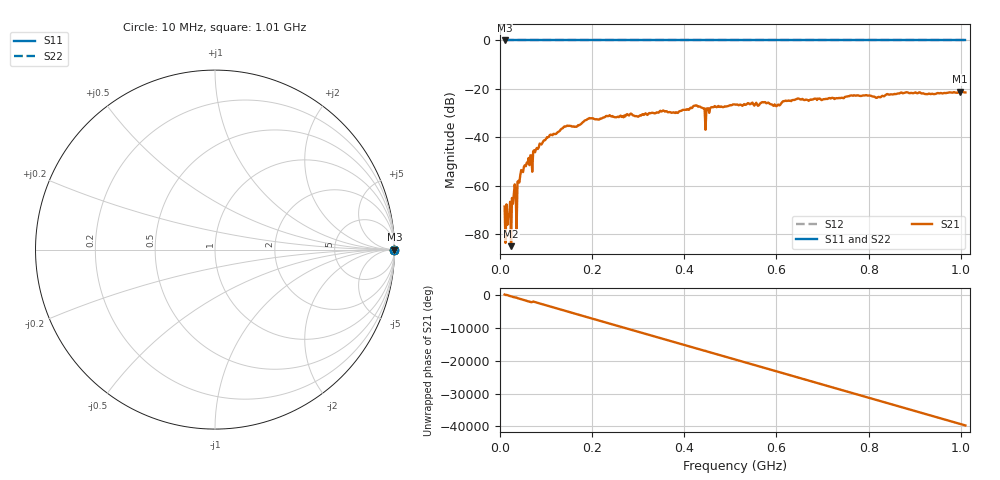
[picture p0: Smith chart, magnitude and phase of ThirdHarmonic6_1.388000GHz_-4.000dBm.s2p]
! 8/16/2025 3:48:08 PM
! C:\ANRITSUVNA\TEMP\TEMP.S2P
! CHANNEL.1
! TR.MEASUREMENT
! RAW.DATA
! RF.CORRECTION.OFF
! AVERAGING.OFF
! IF.BANDWIDTH: 5KHZ
! SWEEPTYPE:  FREQ.SWEEP(Linear)
! Reference Plane Port Info
! PORT:  PORT1  PORT2
! DISTANCE:  0  m  0  m
! TIME:  0  s  0  s
! PHASE.OFFSET:  0  deg.  0  deg.
! LOSS:  0  dB  0  dB
! REF.LOSS:  0  dB  0  dB
! REF.FREQ:  0  Hz  0  Hz
! Power Info
! POWER:  -20  dBm  -20  dBm
! EFF.POWER:  -20  dBm  -20  dBm
! SOURCE.ATTEN:  0  dB  0  dB
! TEST.ATTEN:  0  dB  0  dB
# GHZ S RI R 50.0
! FREQ.GHZ  S11RE  S11IM  S21RE  S21IM  S12RE  S12IM  S22RE  S22IM
!; PortSelection: Port_12
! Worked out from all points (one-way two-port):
!   501 points, 10 MHz to 1.01 GHz, reference 50 ohm
!   highest |S21| = -21.11 dB at 998 MHz (marker M1); lowest = -85.0 dB at 24 MHz (marker M2)
!   lowest |S11| = 0.0 dB at 10 MHz (marker M3)
!   |S11| at or under -10 dB: nowhere
!   |S22| runs from 0.0 to 0.0 dB; largest |S21 - S12| = 1.1
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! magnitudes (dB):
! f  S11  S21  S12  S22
! 10 MHz  0.0  -68.6  0.0  0.0
! 16 MHz  0.0  -76.2  0.0  0.0
! 18 MHz  0.0  -71.8  0.0  0.0
! 20 MHz  0.0  -72.1  0.0  0.0
! 24 MHz  0.0  -85.0  0.0  0.0
! 30 MHz  0.0  -63.4  0.0  0.0
! 32 MHz  0.0  -59.4  0.0  0.0
! 38 MHz  0.0  -58.4  0.0  0.0
! 42 MHz  0.0  -58.7  0.0  0.0
! 48 MHz  0.0  -54.0  0.0  0.0
! 76 MHz  0.0  -46.2  0.0  0.0
! 138 MHz  0.0  -35.8  0.0  0.0
! 178 MHz  0.0  -34.1  0.0  0.0
! 344 MHz  0.0  -29.9  0.0  0.0
! 424 MHz  0.0  -26.9  0.0  0.0
! 450 MHz  0.0  -28.1  0.0  0.0
! 462 MHz  0.0  -27.6  0.0  0.0
! 510 MHz  0.0  -26.4  0.0  0.0
! 678 MHz  0.0  -24.4  0.0  0.0
! 844 MHz  0.0  -22.4  0.0  0.0
! 998 MHz  0.0  -21.1  0.0  0.0
! 1.01 GHz  0.0  -21.5  0.0  0.0
